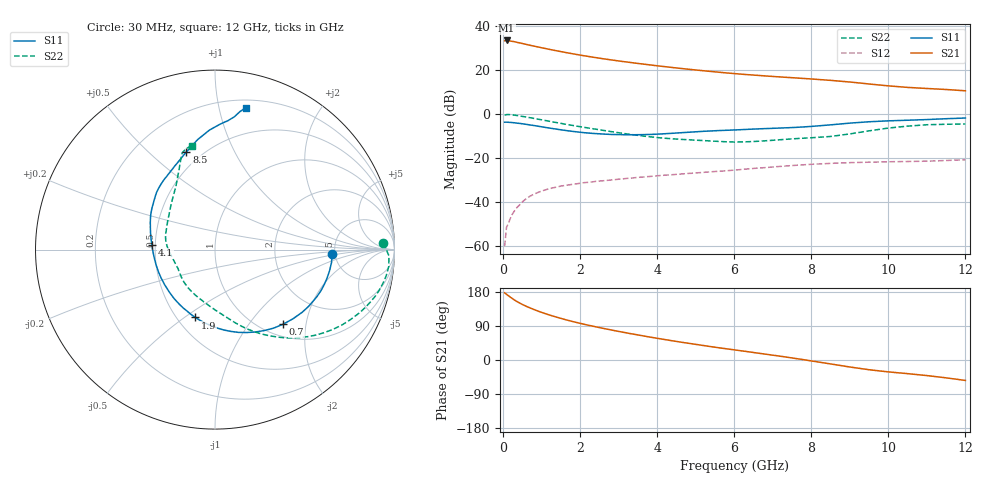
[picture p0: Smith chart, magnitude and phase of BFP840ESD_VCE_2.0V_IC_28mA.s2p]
! Infineon Technologies  Discrete & RF Semiconductors
! BFP840ESD
! VCE =  2.0 V,  IC =  28 mA
! Common Emitter S-Parameters:  May 2012
# GHz  S  MA  R  50
!  f  S11  S21  S12  S22
! GHz  MAG  ANG  MAG  ANG  MAG  ANG  MAG  ANG
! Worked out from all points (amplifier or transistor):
!   93 points, 30 MHz to 12 GHz, reference 50 ohm
!   highest |S21| = 33.4 dB at 80 MHz (marker M1)
!   |S21| within 3 dB of that: start of sweep to 909.7 MHz
!   unconditionally stable (mu >= 1): start of sweep to 30.57 MHz; 4.444 GHz to 7.702 GHz
!   at 1.1 GHz: K = 0.48, MSG = 32.0 dB, |S12| = -34.4 dB
!   at 4.2 GHz: K = 0.98, MSG = 24.6 dB, |S12| = -27.7 dB
!   at 12 GHz: K = 0.73, MSG = 15.7 dB, |S12| = -20.8 dB
!   S11 on the Smith chart (normalised r, x): 30 MHz: 4.71, -0.43; 700 MHz: 1.23, -1.49; 1.9 GHz: 0.61, -0.55; 4.1 GHz: 0.48, +0.03; 8.5 GHz: 0.41, +0.66; 12 GHz: 0.26, +1.21
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0.03  0.652 -2.3  45.85 177.4  0.001 68.5  0.939 2.3
0.08  0.6535 -6.2  46.71 173.4  0.0027 56.1  0.9694 -2.0
0.23  0.6389 -17.8  44.59 162.2  0.0053 79.4  0.9548 -11.3
0.33  0.6253 -24.8  42.82 155.5  0.0072 74.6  0.9299 -16.2
0.43  0.6101 -31.2  40.99 149.8  0.0088 71.5  0.9006 -20.6
0.5  0.598 -35.8  39.61 146.1  0.0103 70.2  0.8799 -23.5
0.7  0.5627 -47.6  36.16 137.0  0.0138 65.8  0.8212 -30.9
0.9  0.5283 -58.6  33.21 129.0  0.0166 61.7  0.763 -37.4
1.2  0.4793 -74.2  29.27 118.6  0.0202 55.5  0.6827 -45.9
1.5  0.4368 -88.5  26.02 109.6  0.0232 52.2  0.611 -53.2
1.9  0.3938 -106.2  22.46 99.0  0.026 47.9  0.5313 -61.7
2.1  0.3763 -114.4  20.98 94.2  0.0277 46.8  0.4978 -65.4
2.5  0.355 -130.2  18.46 85.4  0.0301 44.3  0.4376 -72.6
2.9  0.3421 -145.0  16.44 77.2  0.0324 42.6  0.3863 -79.7
3.5  0.3392 -165.5  14.04 66.0  0.0366 40.3  0.3271 -92.3
4.1  0.3526 175.7  12.13 55.5  0.0402 38.1  0.2863 -107.2
5.2  0.4048 152.4  9.588 38.1  0.0474 34.0  0.2493 -134.4
6.1  0.4379 140.5  8.129 25.3  0.0542 31.2  0.2323 -155.7
8.5  0.5674 106.3  5.798 -10.4  0.0757 14.1  0.3092 148.2
9.5  0.6671 92.6  4.8 -25.7  0.0805 5.3  0.4146 121.7
10.5  0.7225 84.2  4.016 -36.0  0.0835 -1.7  0.531 111.2
12  0.8102 77.6  3.365 -53.9  0.0916 -9.5  0.5942 102.6
